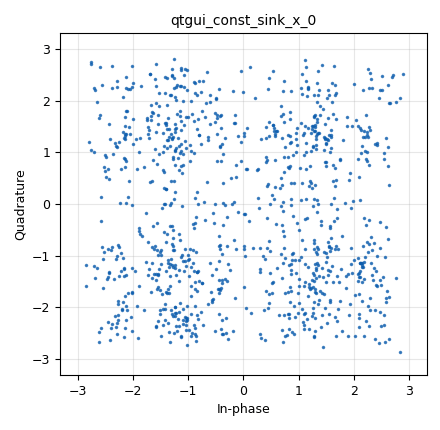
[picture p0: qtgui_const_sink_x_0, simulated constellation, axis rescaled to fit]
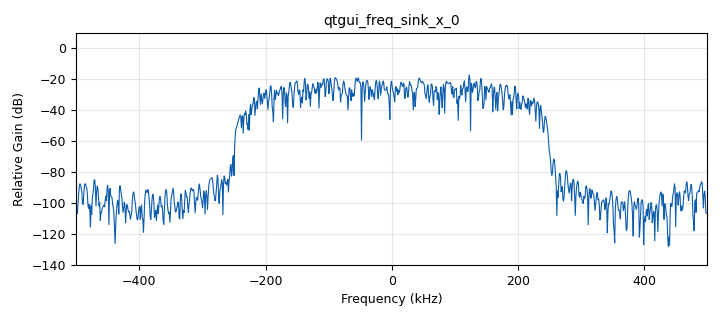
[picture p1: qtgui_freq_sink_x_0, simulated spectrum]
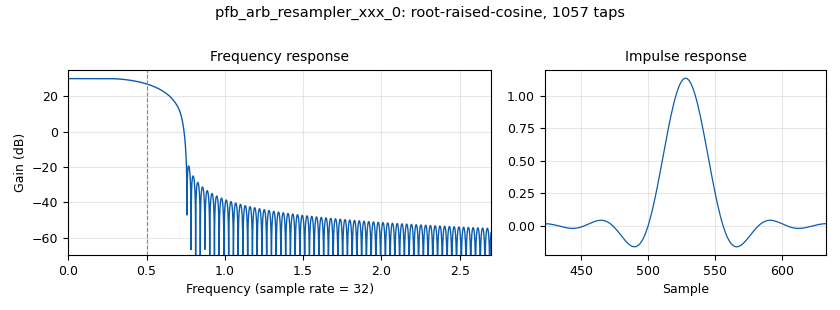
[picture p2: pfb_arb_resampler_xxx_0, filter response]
<?xml version='1.0' encoding='utf-8'?>
<?grc format='1' created='3.7.10'?>
<flow_graph>
<block>
<key>options</key>
<param><key>id</key><value>top_block</value></param>
<param><key>generate_options</key><value>qt_gui</value></param>
</block>
<block>
<key>variable_qtgui_range</key>
<param><key>id</key><value>cfo</value></param>
<param><key>value</key><value>0.0</value></param>
<param><key>label</key><value>Carrier Frequency Offset (Hz)</value></param>
<param><key>orient</key><value>Qt.Horizontal</value></param>
<param><key>start</key><value>0</value></param>
<param><key>step</key><value>10</value></param>
<param><key>stop</key><value>100e3</value></param>
</block>
<block>
<key>variable</key>
<param><key>id</key><value>constellation</value></param>
<param><key>comment</key><value>The constellation points of specific modulation.
For example BPSK is [-1, 1]</value></param>
<param><key>value</key><value>(-1+0j, +1+0j)</value></param>
</block>
<block>
<key>variable</key>
<param><key>id</key><value>constellation_0</value></param>
<param><key>comment</key><value>The constellation points of specific modulation.
For example BPSK is [-1, 1]</value></param>
<param><key>value</key><value>[-1-1j, +1+1j, +1-1j, -1+1j]</value></param>
</block>
<block>
<key>variable</key>
<param><key>id</key><value>constellation_1</value></param>
<param><key>comment</key><value>The constellation points of specific modulation.
For example BPSK is [-1, 1]</value></param>
<param><key>value</key><value>[+1+0j,-1+0j,+0-1j,+0+1j,+0.70710678118+0.70710678118j,- 0.70710678118+0.70710678118j,- 0.70710678118-0.70710678118j,+ 0.70710678118-0.70710678118j]</value></param>
</block>
<block>
<key>variable</key>
<param><key>id</key><value>constellation_2</value></param>
<param><key>comment</key><value>The constellation points of specific modulation.
For example BPSK is [-1, 1]</value></param>
<param><key>value</key><value>[-1+1j, +1+1j, -1-1j, +1-1j, -2+2j, +2+2j, -2-2j, +2-2j, -1+2j, -1-2j, +1+2j, +1-2j, -2+1j, -2-1j, +2+1j,+2-1j]</value></param>
</block>
<block>
<key>variable</key>
<param><key>id</key><value>constellation_3</value></param>
<param><key>comment</key><value>The constellation points of specific modulation.
For example BPSK is [-1, 1]</value></param>
<param><key>value</key><value>[-1+1j, +1+1j, -1-1j, +1-1j, -2+2j, +2+2j, -2-2j, +2-2j, -1+2j, -1-2j, +1+2j, +1-2j, -2+1j, -2-1j, +2+1j,+2-1j,
+3 -1j, +4-1j, +3-2j, +4-2j, +1-3j, +1-4j, +2-3j, +2-4j, +3-3j, +3-4j, +4-3j, +4-4j,
+3 +1j, +4+1j, +3+2j, +4+2j, +1+3j, +1+4j, +2+3j, +2+4j, +3+3j, +3+4j, +4+3j, +4+4j,
-3 -1j, -4-1j, -3-2j, -4-2j, -1-3j, -1-4j, -2-3j, -2-4j, -3-3j, -3-4j, -4-3j, -4-4j,
-3 +1j, -4+1j, -3+2j, -4+2j, -1+3j, -1+4j, -2+3j, -2+4j, -3+3j, -3+4j, -4+3j, -4+4j,
]
</value></param>
</block>
<block>
<key>variable</key>
<param><key>id</key><value>mod_order</value></param>
<param><key>comment</key><value>The number of bits that each 
constellation point carries</value></param>
<param><key>value</key><value>4</value></param>
</block>
<block>
<key>variable_qtgui_range</key>
<param><key>id</key><value>noise</value></param>
<param><key>value</key><value>0.0</value></param>
<param><key>label</key><value>Noise Amplitude</value></param>
<param><key>orient</key><value>Qt.Horizontal</value></param>
<param><key>start</key><value>0</value></param>
<param><key>step</key><value>0.01</value></param>
<param><key>stop</key><value>1</value></param>
</block>
<block>
<key>variable</key>
<param><key>id</key><value>samp_rate</value></param>
<param><key>value</key><value>1e6</value></param>
</block>
<block>
<key>variable</key>
<param><key>id</key><value>samples_per_symbol</value></param>
<param><key>comment</key><value>The number of samples that each
symbol corresponds</value></param>
<param><key>value</key><value>3</value></param>
</block>
<block>
<key>variable</key>
<param><key>id</key><value>taps</value></param>
<param><key>value</key><value>firdes.root_raised_cosine(32, 32, 1.0, 0.5, 32 * 11 * samples_per_symbol)</value></param>
</block>
<block>
<key>analog_noise_source_x</key>
<param><key>id</key><value>analog_noise_source_x_0</value></param>
<param><key>amp</key><value>noise</value></param>
<param><key>noise_type</key><value>analog.GR_GAUSSIAN</value></param>
<param><key>type</key><value>complex</value></param>
<param><key>seed</key><value>0</value></param>
</block>
<block>
<key>analog_random_source_x</key>
<param><key>id</key><value>analog_random_source_x_0</value></param>
<param><key>max</key><value>255</value></param>
<param><key>min</key><value>0</value></param>
<param><key>num_samps</key><value>1000</value></param>
<param><key>type</key><value>byte</value></param>
<param><key>repeat</key><value>True</value></param>
</block>
<block>
<key>analog_sig_source_x</key>
<param><key>id</key><value>analog_sig_source_x_0</value></param>
<param><key>amp</key><value>1</value></param>
<param><key>freq</key><value>cfo</value></param>
<param><key>offset</key><value>0</value></param>
<param><key>type</key><value>complex</value></param>
<param><key>samp_rate</key><value>samp_rate</value></param>
<param><key>waveform</key><value>analog.GR_COS_WAVE</value></param>
</block>
<block>
<key>blocks_add_xx</key>
<param><key>id</key><value>blocks_add_xx_0</value></param>
<param><key>type</key><value>complex</value></param>
</block>
<block>
<key>blocks_multiply_xx</key>
<param><key>id</key><value>blocks_multiply_xx_0</value></param>
<param><key>type</key><value>complex</value></param>
</block>
<block>
<key>blocks_packed_to_unpacked_xx</key>
<param><key>id</key><value>blocks_packed_to_unpacked_xx_0</value></param>
<param><key>bits_per_chunk</key><value>mod_order</value></param>
<param><key>endianness</key><value>gr.GR_MSB_FIRST</value></param>
<param><key>type</key><value>byte</value></param>
</block>
<block>
<key>blocks_throttle</key>
<param><key>id</key><value>blocks_throttle_0</value></param>
<param><key>samples_per_second</key><value>samp_rate</value></param>
<param><key>type</key><value>complex</value></param>
</block>
<block>
<key>digital_chunks_to_symbols_xx</key>
<param><key>id</key><value>digital_chunks_to_symbols_xx_0</value></param>
<param><key>dimension</key><value>1</value></param>
<param><key>in_type</key><value>byte</value></param>
<param><key>out_type</key><value>complex</value></param>
<param><key>symbol_table</key><value>constellation_2</value></param>
</block>
<block>
<key>import</key>
<param><key>id</key><value>import_0</value></param>
<param><key>import</key><value>import math</value></param>
</block>
<block>
<key>import</key>
<param><key>id</key><value>import_0_0</value></param>
<param><key>import</key><value>filter</value></param>
</block>
<block>
<key>pfb_arb_resampler_xxx</key>
<param><key>id</key><value>pfb_arb_resampler_xxx_0</value></param>
<param><key>nfilts</key><value>32</value></param>
<param><key>rrate</key><value>samples_per_symbol</value></param>
<param><key>atten</key><value>100</value></param>
<param><key>taps</key><value>taps</value></param>
<param><key>type</key><value>ccf</value></param>
</block>
<block>
<key>qtgui_const_sink_x</key>
<param><key>id</key><value>qtgui_const_sink_x_0</value></param>
<param><key>grid</key><value>True</value></param>
<param><key>size</key><value>1024</value></param>
<param><key>type</key><value>complex</value></param>
</block>
<block>
<key>qtgui_freq_sink_x</key>
<param><key>id</key><value>qtgui_freq_sink_x_0</value></param>
<param><key>bw</key><value>samp_rate</value></param>
<param><key>fc</key><value>0</value></param>
<param><key>ctrlpanel</key><value>True</value></param>
<param><key>fftsize</key><value>1024</value></param>
<param><key>grid</key><value>True</value></param>
<param><key>showports</key><value>True</value></param>
<param><key>type</key><value>complex</value></param>
<param><key>wintype</key><value>firdes.WIN_BLACKMAN_hARRIS</value></param>
</block>
<connection><source_block_id>analog_noise_source_x_0</source_block_id><sink_block_id>blocks_add_xx_0</sink_block_id><source_key>0</source_key><sink_key>1</sink_key></connection>
<connection><source_block_id>analog_random_source_x_0</source_block_id><sink_block_id>blocks_packed_to_unpacked_xx_0</sink_block_id><source_key>0</source_key><sink_key>0</sink_key></connection>
<connection><source_block_id>analog_sig_source_x_0</source_block_id><sink_block_id>blocks_multiply_xx_0</sink_block_id><source_key>0</source_key><sink_key>1</sink_key></connection>
<connection><source_block_id>blocks_add_xx_0</source_block_id><sink_block_id>blocks_multiply_xx_0</sink_block_id><source_key>0</source_key><sink_key>0</sink_key></connection>
<connection><source_block_id>blocks_multiply_xx_0</source_block_id><sink_block_id>blocks_throttle_0</sink_block_id><source_key>0</source_key><sink_key>0</sink_key></connection>
<connection><source_block_id>blocks_packed_to_unpacked_xx_0</source_block_id><sink_block_id>digital_chunks_to_symbols_xx_0</sink_block_id><source_key>0</source_key><sink_key>0</sink_key></connection>
<connection><source_block_id>blocks_throttle_0</source_block_id><sink_block_id>qtgui_const_sink_x_0</sink_block_id><source_key>0</source_key><sink_key>0</sink_key></connection>
<connection><source_block_id>blocks_throttle_0</source_block_id><sink_block_id>qtgui_freq_sink_x_0</sink_block_id><source_key>0</source_key><sink_key>0</sink_key></connection>
<connection><source_block_id>digital_chunks_to_symbols_xx_0</source_block_id><sink_block_id>pfb_arb_resampler_xxx_0</sink_block_id><source_key>0</source_key><sink_key>0</sink_key></connection>
<connection><source_block_id>pfb_arb_resampler_xxx_0</source_block_id><sink_block_id>blocks_add_xx_0</sink_block_id><source_key>0</source_key><sink_key>0</sink_key></connection>
</flow_graph>
